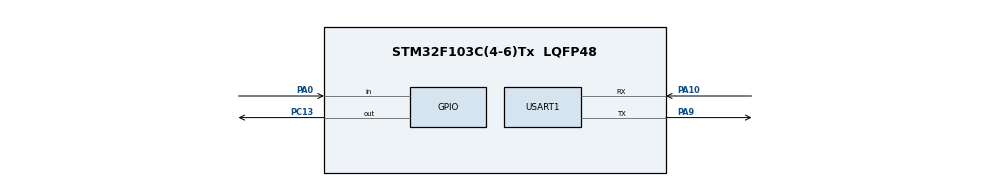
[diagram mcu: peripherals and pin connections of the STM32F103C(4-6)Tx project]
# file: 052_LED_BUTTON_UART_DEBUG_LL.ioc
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Mcu.Family=STM32F1
Mcu.Name=STM32F103C(4-6)Tx
Mcu.Package=LQFP48
NVIC.PriorityGroup=NVIC_PRIORITYGROUP_4
PA0-WKUP.GPIO_PuPd=GPIO_PULLUP
PA0-WKUP.Signal=GPIO_Input
PA10.Mode=Asynchronous
PA10.Signal=USART1_RX
PA13.Mode=Serial_Wire
PA13.Signal=SYS_JTMS-SWDIO
PA14.Mode=Serial_Wire
PA14.Signal=SYS_JTCK-SWCLK
PA9.Mode=Asynchronous
PA9.Signal=USART1_TX
PC13-TAMPER-RTC.Signal=GPIO_Output
ProjectManager.HeapSize=0x200
ProjectManager.StackSize=0x400
ProjectManager.TargetToolchain=STM32CubeIDE
RCC.AHBFreq_Value=16000000
RCC.APB1Freq_Value=16000000
RCC.APB1TimFreq_Value=16000000
RCC.APB2Freq_Value=16000000
RCC.APB2TimFreq_Value=16000000
RCC.HCLKFreq_Value=16000000
RCC.PLLMUL=RCC_PLL_MUL4
RCC.SYSCLKFreq_VALUE=16000000
RCC.SYSCLKSource=RCC_SYSCLKSOURCE_PLLCLK
RCC.USBFreq_Value=16000000
USART1.VirtualMode=VM_ASYNC
board=custom

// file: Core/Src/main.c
/* USER CODE BEGIN Header */
/**
  ******************************************************************************
  * @file           : main.c
  * @brief          : Main program body
  ******************************************************************************
  * @attention
  *
  * Copyright (c) 2025 STMicroelectronics.
  * All rights reserved.
  *
  * This software is licensed under terms that can be found in the LICENSE file
  * in the root directory of this software component.
  * If no LICENSE file comes with this software, it is provided AS-IS.
  *
  ******************************************************************************
  */
/* USER CODE END Header */
#include "main.h"

/* USER CODE BEGIN Includes */
#include <string.h>
#include "stm32f1xx_ll_utils.h"
#include "ll_tick.h"
/* USER CODE END Includes */

/* USER CODE BEGIN PTD */
/* USER CODE BEGIN PTD */
typedef enum {
    STATE_IDLE = 0,
    STATE_ACTIVE
} system_state_t;
/* USER CODE END PTD */

/* USER CODE BEGIN PD */
/* USER CODE BEGIN PD */
#define LED_IDLE_PERIOD_MS  500U
#define LED_ACTIVE_PERIOD_MS 250U
#define BUTTON_DEBOUNCE_MS  30U
/* USER CODE END PD */

/* USER CODE BEGIN PV */
/* USER CODE BEGIN PV */
// Variablen für unsere State-Machine
system_state_t g_state = STATE_IDLE;
uint32_t g_led_timer = 0;
uint32_t g_button_timer = 0;
uint8_t g_button_latched = 1U; // 1 = Losgelassen (wegen PULL_UP)
uint8_t g_button_consumed = 0U;
/* USER CODE END PV */

void SystemClock_Config(void);
static void MX_GPIO_Init(void);
static void MX_USART1_UART_Init(void);
/* USER CODE BEGIN PFP */
static void uart_send_char(char c);
static void uart_send_string(const char *s);
static void log_state(system_state_t state);
/* USER CODE END PFP */

/* USER CODE BEGIN 0 */
static void Systick_Reinit_1ms(void)
{
    // aus und sauber neu setzen
    SysTick->CTRL = 0;
    SysTick->LOAD = (SystemCoreClock / 1000U) - 1U;  // 1 ms
    SysTick->VAL  = 0;

    // Clock = HCLK, Interrupt an, SysTick an
    SysTick->CTRL =  SysTick_CTRL_CLKSOURCE_Msk
                   | SysTick_CTRL_TICKINT_Msk
                   | SysTick_CTRL_ENABLE_Msk;
}
/* USER CODE END 0 */

int main(void)
{

  /* MCU Configuration--------------------------------------------------------*/

  /* Reset of all peripherals, Initializes the Flash interface and the Systick. */
  LL_APB2_GRP1_EnableClock(LL_APB2_GRP1_PERIPH_AFIO);
  LL_APB1_GRP1_EnableClock(LL_APB1_GRP1_PERIPH_PWR);

  /* System interrupt init*/
  NVIC_SetPriorityGrouping(NVIC_PRIORITYGROUP_4);

  /* SysTick_IRQn interrupt configuration */
  NVIC_SetPriority(SysTick_IRQn, NVIC_EncodePriority(NVIC_GetPriorityGrouping(),15, 0));

  /** NOJTAG: JTAG-DP Disabled and SW-DP Enabled
  */
  LL_GPIO_AF_Remap_SWJ_NOJTAG();

  /* Configure the system clock */
  SystemClock_Config();

  /* USER CODE BEGIN SysInit */
  Systick_Reinit_1ms();   // <<< dazu
  /* USER CODE END SysInit */

  /* Initialize all configured peripherals */
  MX_GPIO_Init();
  MX_USART1_UART_Init();
  /* USER CODE BEGIN 2 */
  // LED initial ausschalten (PC13 ist active-low, HIGH = AUS)
    // (Hinweis: MX_GPIO_Init hat sie schon auf LOW gesetzt,
    //  also schalten wir sie hier korrekt aus)
    LL_GPIO_SetOutputPin(GPIOC, LL_GPIO_PIN_13);

    // Start-Nachrichten senden
    uart_send_string("\r\n=== LL (CubeMX) HSI 16MHz Demo ===\r\n");
    uart_send_string("Clock: 16 MHz (HSI/PLL)\r\n");
    uart_send_string("Framework: LL\r\n");

    // Initial-Status loggen
    log_state(g_state);
  /* USER CODE END 2 */

  /* Infinite loop */
  while (1)
  {

    /* USER CODE BEGIN 3 */
	  uint32_t now = LL_GetTick();

	      // 1 Hz Heartbeat zum Prüfen, dass der Tick läuft
	      static uint32_t last_hb = 0;
	      if ((now - last_hb) >= 1000U) {
	          last_hb = now;
	          LL_GPIO_TogglePin(GPIOC, LL_GPIO_PIN_13);
	          uart_send_string(".");
	      }

	      // --- Button Debounce ---
	      uint8_t level = (LL_GPIO_ReadInputPort(GPIOA) & LL_GPIO_PIN_0) ? 1U : 0U;
	      if (level != g_button_latched) {
	          g_button_latched = level;
	          g_button_timer = now;
	      }

	      // --- State Machine ---
	      if ((now - g_button_timer) >= BUTTON_DEBOUNCE_MS) {
	          if ((level == 0U) && (g_button_consumed == 0U)) {
	              g_state = (g_state == STATE_IDLE) ? STATE_ACTIVE : STATE_IDLE;
	              log_state(g_state);
	              g_button_consumed = 1U;
	          } else if (level != 0U) {
	              g_button_consumed = 0U;
	          }
	      }

	      // --- LED Blinking (state-basiert) ---
	      uint32_t period = (g_state == STATE_ACTIVE) ? LED_ACTIVE_PERIOD_MS : LED_IDLE_PERIOD_MS;
	      if ((now - g_led_timer) >= period) {
	          g_led_timer = now;
	          LL_GPIO_TogglePin(GPIOC, LL_GPIO_PIN_13);
	      }
  }
  /* USER CODE END 3 */
}

void SystemClock_Config(void)
{
  LL_FLASH_SetLatency(LL_FLASH_LATENCY_0);
  while(LL_FLASH_GetLatency()!= LL_FLASH_LATENCY_0)
  {
  }
  LL_RCC_HSI_SetCalibTrimming(16);
  LL_RCC_HSI_Enable();

   /* Wait till HSI is ready */
  while(LL_RCC_HSI_IsReady() != 1)
  {

  }
  LL_RCC_PLL_ConfigDomain_SYS(LL_RCC_PLLSOURCE_HSI_DIV_2, LL_RCC_PLL_MUL_4);
  LL_RCC_PLL_Enable();

   /* Wait till PLL is ready */
  while(LL_RCC_PLL_IsReady() != 1)
  {

  }
  LL_RCC_SetAHBPrescaler(LL_RCC_SYSCLK_DIV_1);
  LL_RCC_SetAPB1Prescaler(LL_RCC_APB1_DIV_1);
  LL_RCC_SetAPB2Prescaler(LL_RCC_APB2_DIV_1);
  LL_RCC_SetSysClkSource(LL_RCC_SYS_CLKSOURCE_PLL);

   /* Wait till System clock is ready */
  while(LL_RCC_GetSysClkSource() != LL_RCC_SYS_CLKSOURCE_STATUS_PLL)
  {

  }
  LL_Init1msTick(16000000);
  LL_SetSystemCoreClock(16000000);
  LL_SYSTICK_SetClkSource(LL_SYSTICK_CLKSOURCE_HCLK);
  LL_Init1msTick(SystemCoreClock);

}

static void MX_USART1_UART_Init(void)
{

  LL_USART_InitTypeDef USART_InitStruct = {0};

  LL_GPIO_InitTypeDef GPIO_InitStruct = {0};

  /* Peripheral clock enable */
  LL_APB2_GRP1_EnableClock(LL_APB2_GRP1_PERIPH_USART1);

  LL_APB2_GRP1_EnableClock(LL_APB2_GRP1_PERIPH_GPIOA);
  /**USART1 GPIO Configuration
  PA9   ------> USART1_TX
  PA10   ------> USART1_RX
  */
  GPIO_InitStruct.Pin = LL_GPIO_PIN_9;
  GPIO_InitStruct.Mode = LL_GPIO_MODE_ALTERNATE;
  GPIO_InitStruct.Speed = LL_GPIO_SPEED_FREQ_HIGH;
  GPIO_InitStruct.OutputType = LL_GPIO_OUTPUT_PUSHPULL;
  LL_GPIO_Init(GPIOA, &GPIO_InitStruct);

  GPIO_InitStruct.Pin = LL_GPIO_PIN_10;
  GPIO_InitStruct.Mode = LL_GPIO_MODE_FLOATING;
  LL_GPIO_Init(GPIOA, &GPIO_InitStruct);

  USART_InitStruct.BaudRate = 115200;
  USART_InitStruct.DataWidth = LL_USART_DATAWIDTH_8B;
  USART_InitStruct.StopBits = LL_USART_STOPBITS_1;
  USART_InitStruct.Parity = LL_USART_PARITY_NONE;
  USART_InitStruct.TransferDirection = LL_USART_DIRECTION_TX_RX;
  USART_InitStruct.HardwareFlowControl = LL_USART_HWCONTROL_NONE;
  USART_InitStruct.OverSampling = LL_USART_OVERSAMPLING_16;
  LL_USART_Init(USART1, &USART_InitStruct);
  LL_USART_ConfigAsyncMode(USART1);
  LL_USART_Enable(USART1);

}

static void MX_GPIO_Init(void)
{
  LL_GPIO_InitTypeDef GPIO_InitStruct = {0};

  /* GPIO Ports Clock Enable */
  LL_APB2_GRP1_EnableClock(LL_APB2_GRP1_PERIPH_GPIOC);
  LL_APB2_GRP1_EnableClock(LL_APB2_GRP1_PERIPH_GPIOA);

  /**/
  LL_GPIO_ResetOutputPin(GPIOC, LL_GPIO_PIN_13);

  /**/
  GPIO_InitStruct.Pin = LL_GPIO_PIN_13;
  GPIO_InitStruct.Mode = LL_GPIO_MODE_OUTPUT;
  GPIO_InitStruct.Speed = LL_GPIO_SPEED_FREQ_LOW;
  GPIO_InitStruct.OutputType = LL_GPIO_OUTPUT_PUSHPULL;
  LL_GPIO_Init(GPIOC, &GPIO_InitStruct);

  /**/
  GPIO_InitStruct.Pin = LL_GPIO_PIN_0;
  GPIO_InitStruct.Mode = LL_GPIO_MODE_INPUT;
  GPIO_InitStruct.Pull = LL_GPIO_PULL_UP;
  LL_GPIO_Init(GPIOA, &GPIO_InitStruct);

}

/* USER CODE BEGIN 4 */

/**
 * @brief Sendet ein einzelnes Zeichen (blockierend)
 */
static void uart_send_char(char c) {
    // Warten bis "Transmit Data Register" leer ist
    while (LL_USART_IsActiveFlag_TXE(USART1) != 1U) {}

    // Daten senden
    LL_USART_TransmitData8(USART1, (uint8_t)c);
}

/**
 * @brief Sendet einen String (blockierend)
 */
static void uart_send_string(const char *s) {
    while (*s != '\0') {
        uart_send_char(*s++);
    }
}

/**
 * @brief Sendet den aktuellen Status über UART
 */
static void log_state(system_state_t state) {
    if (state == STATE_IDLE) {
        uart_send_string("STATE: IDLE - LED slow blink\r\n");
    } else {
        uart_send_string("STATE: ACTIVE - LED fast blink\r\n");
    }
}
/* USER CODE END 4 */

void Error_Handler(void)
{
  __disable_irq();
  while (1)
  {
  }
}
